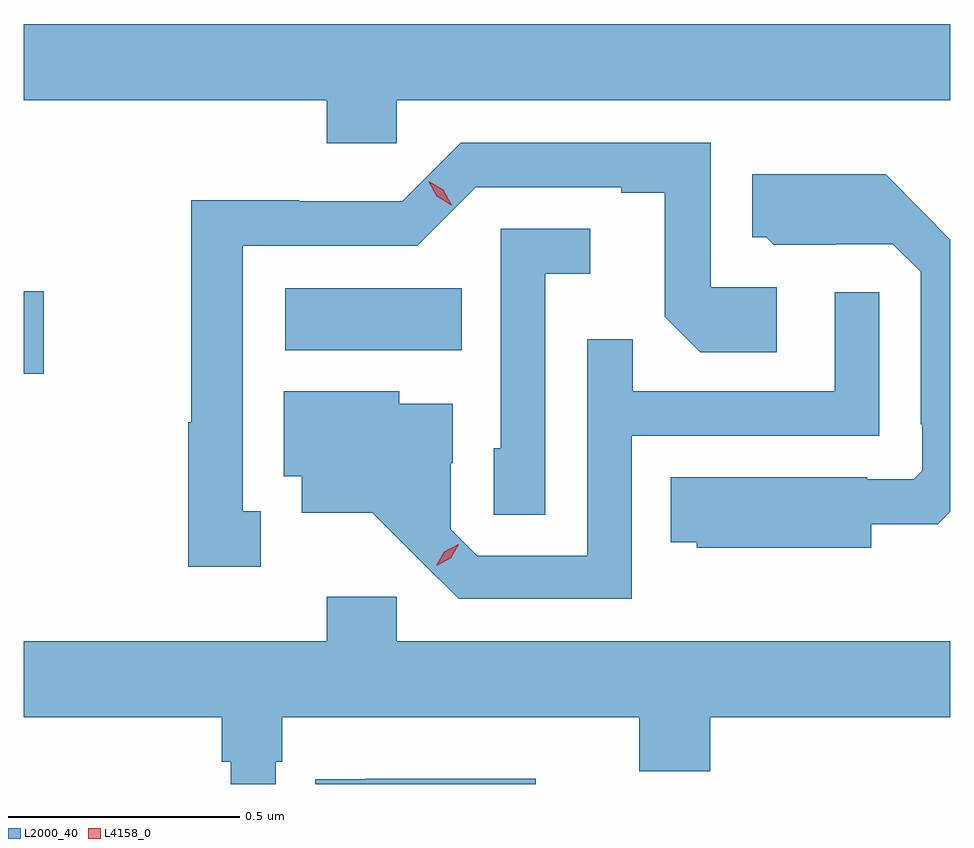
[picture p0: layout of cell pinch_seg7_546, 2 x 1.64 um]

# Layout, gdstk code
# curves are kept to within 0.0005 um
import gdstk
lib = gdstk.Library(unit=1e-6, precision=1e-09)
def R(c, l, rs):  # rectangles x0, y0, x1, y1
    for r in rs: c.add(gdstk.rectangle(r[:2], r[2:], *l))
def P(c, l, *ps):  # polygons
    for p in ps: c.add(gdstk.Polygon(p, *l))
L2000_40 = (2000, 40)
L4158_0 = (4158, 0)

pinch_seg7_546 = lib.new_cell('pinch_seg7_546')
R(pinch_seg7_546, L2000_40, [(171.443,1061.297,171.487,1061.475), (172.008,1061.348,172.388,1061.482)])
P(pinch_seg7_546, L2000_40, [(172.248,1061.888),(173.443,1061.888),(173.443,1062.052),(171.443,1062.052),(171.443,1061.888),(172.097,1061.888),(172.097,1061.795),(172.248,1061.795)],
  [(171.955,1061.001),(171.916,1061.001),(171.916,1061.574),(172.293,1061.574),(172.419,1061.7),(172.733,1061.7),(172.733,1061.688),(172.827,1061.688),(172.827,1061.42),(172.903,1061.344),(173.068,1061.344),(173.068,1061.484),(172.926,1061.484),(172.926,1061.796),(172.386,1061.796),(172.26,1061.67),(172.038,1061.67),(172.038,1061.672),(171.805,1061.672),(171.805,1061.193),(171.798,1061.193),(171.798,1060.881),(171.955,1060.881)],
  [(173.272,1060.973),(173.416,1060.973),(173.443,1061),(173.443,1061.586),(173.303,1061.728),(173.015,1061.728),(173.015,1061.592),(173.046,1061.592),(173.062,1061.576),(173.196,1061.576),(173.196,1061.577),(173.319,1061.577),(173.379,1061.517),(173.379,1061.188),(173.382,1061.188),(173.382,1061.088),(173.364,1061.07),(173.264,1061.07),(173.264,1061.074),(172.84,1061.074),(172.84,1060.934),(172.896,1060.934),(172.896,1060.922),(173.272,1060.922)],
  [(172.569,1061.513),(172.666,1061.513),(172.666,1061.61),(172.473,1061.61),(172.473,1061.136),(172.458,1061.136),(172.458,1060.993),(172.569,1060.993)],
  [(172.755,1061.163),(173.289,1061.163),(173.289,1061.473),(173.193,1061.473),(173.193,1061.259),(172.757,1061.259),(172.757,1061.372),(172.659,1061.372),(172.659,1060.905),(172.422,1060.905),(172.365,1060.962),(172.365,1061.104),(172.369,1061.104),(172.369,1061.233),(172.254,1061.233),(172.254,1061.26),(172.004,1061.26),(172.004,1061.076),(172.043,1061.076),(172.043,1060.997),(172.195,1060.997),(172.382,1060.812),(172.755,1060.812)],
  [(171.987,1060.46),(172.001,1060.46),(172.001,1060.556),(172.772,1060.556),(172.772,1060.439),(172.925,1060.439),(172.925,1060.556),(173.443,1060.556),(173.443,1060.72),(172.248,1060.72),(172.248,1060.816),(172.097,1060.816),(172.097,1060.72),(171.443,1060.72),(171.443,1060.556),(171.871,1060.556),(171.871,1060.46),(171.89,1060.46),(171.89,1060.412),(171.987,1060.412)],
  [(172.548,1060.423),(172.18,1060.423),(172.18,1060.422),(172.072,1060.422),(172.072,1060.412),(172.548,1060.412)])
P(pinch_seg7_546, L4158_0, [(172.334,1060.883),(172.334,1060.883),(172.351,1060.913),(172.381,1060.929),(172.382,1060.929),(172.382,1060.929),(172.365,1060.899),(172.334,1060.883)],
  [(172.366,1061.661),(172.335,1061.68),(172.317,1061.712),(172.317,1061.713),(172.317,1061.713),(172.349,1061.694),(172.367,1061.661),(172.367,1061.661)])

lib.write_gds('pinch_seg7_546.gds')
